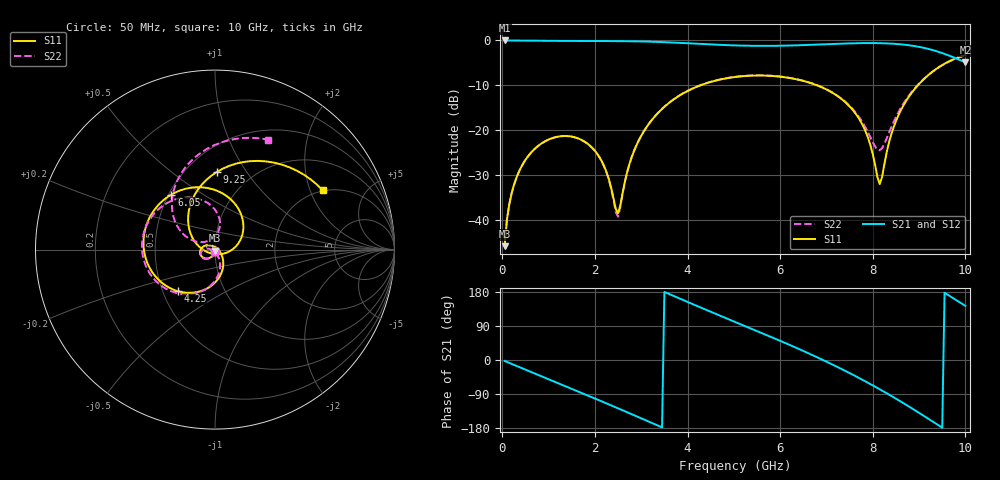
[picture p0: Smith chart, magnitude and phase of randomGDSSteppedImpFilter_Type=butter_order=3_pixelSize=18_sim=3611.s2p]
! freq	dB(S11)	phase(S11)	dB(S12)	phase(S12)
!  dB(S21)	phase(S21)	dB(S22)	phase(S22)
!S-par simulation data
#  GHz  S  DB  R 50
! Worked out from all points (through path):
!   200 points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, 50 MHz to 10 GHz, reference 50 ohm
!   highest |S21| = -0.01 dB at 50 MHz (marker M1); lowest = -4.9 dB at 10 GHz (marker M2)
!   group delay of S21, straight-line fit = 155 ps
!   lowest |S11| = -45.9 dB at 50 MHz (marker M3), VSWR 1.01, Z = 50 - j0.505 ohm
!   |S11| at or under -10 dB: start of sweep to 4.285 GHz; 6.791 GHz to 8.975 GHz (2.184 GHz wide, 27.7 % of centre)
!   |S22| runs from -45.9 to -3.4 dB; largest |S21 - S12| = 0
!   S11 on the Smith chart (normalised r, x): 50 MHz: 1.00, -0.01; 4.25 GHz: 0.60, -0.31; 6.05 GHz: 0.52, +0.37; 9.25 GHz: 0.70, +0.74; 10 GHz: 1.97, +2.46
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0.05  -45.93 -90.9  -0.01 -2.6  -0.01 -2.6  -45.93 -90.6
0.2  -34.19 -100.0  -0.02 -10.3  -0.02 -10.3  -34.19 -99.1
0.55  -25.94 -119.7  -0.05 -28.0  -0.05 -28.0  -25.94 -117.2
1.1  -21.74 -149.5  -0.10 -55.9  -0.10 -55.9  -21.74 -143.9
1.75  -22.43 173.8  -0.13 -88.8  -0.13 -88.8  -22.45 -173.6
2.2  -28.08 141.0  -0.14 -111.9  -0.14 -111.9  -28.18 172.2
2.5  -38.60 46.4  -0.15 -127.5  -0.15 -127.5  -39.34 -120.7
2.85  -24.55 -45.9  -0.19 -145.9  -0.19 -145.9  -24.51 -66.5
3.4  -15.79 -83.5  -0.35 -175.1  -0.35 -175.1  -15.75 -87.6
4.25  -10.14 -132.0  -0.76 140.2  -0.76 140.2  -10.10 -128.0
5.05  -8.13 -175.7  -1.12 99.3  -1.12 99.3  -8.09 -165.5
6.05  -8.15 128.3  -1.18 48.1  -1.18 48.1  -8.11 148.6
6.7  -9.66 88.5  -0.97 12.8  -0.97 12.8  -9.62 118.5
7.2  -12.14 54.6  -0.76 -16.2  -0.76 -16.2  -12.08 95.7
7.65  -16.64 19.5  -0.62 -44.0  -0.62 -44.0  -16.35 79.5
7.9  -21.80 -6.7  -0.59 -60.3  -0.59 -60.3  -20.58 81.0
8.15  -32.07 -96.7  -0.61 -77.2  -0.61 -77.2  -24.52 120.1
8.35  -22.79 177.3  -0.68 -91.2  -0.68 -91.2  -20.62 153.4
8.7  -13.85 136.9  -0.97 -116.7  -0.97 -116.7  -13.50 152.5
9.25  -7.29 88.8  -2.03 -159.0  -2.03 -159.0  -7.30 119.8
9.6  -4.92 60.0  -3.19 173.6  -3.19 173.6  -4.98 94.4
10  -3.28 28.9  -4.91 143.0  -4.91 143.0  -3.35 64.5
